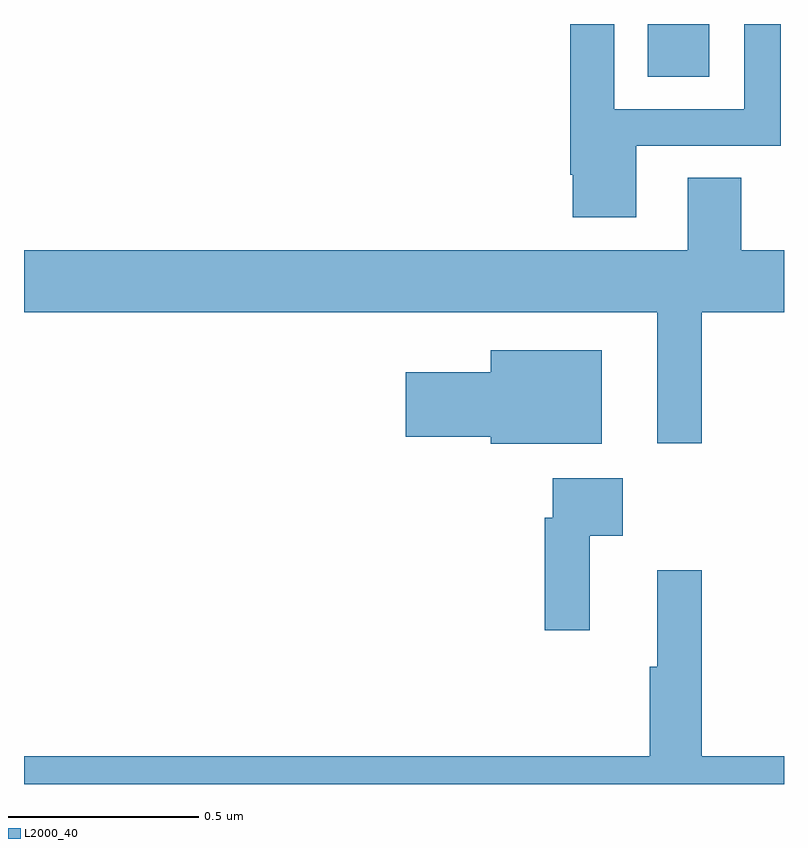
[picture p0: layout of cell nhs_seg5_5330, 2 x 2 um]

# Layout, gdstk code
import gdstk
lib = gdstk.Library(unit=1e-6, precision=1e-09)
def R(c, l, rs):  # rectangles x0, y0, x1, y1
    for r in rs: c.add(gdstk.rectangle(r[:2], r[2:], *l))
def P(c, l, *ps):  # polygons
    for p in ps: c.add(gdstk.Polygon(p, *l))
L2000_40 = (2000, 40)

nhs_seg5_5330 = lib.new_cell('nhs_seg5_5330')
R(nhs_seg5_5330, L2000_40, [(182.642,910.66,182.803,910.799)])
P(nhs_seg5_5330, L2000_40, [(182.611,910.479),(182.991,910.479),(182.991,910.799),(182.895,910.799),(182.895,910.575),(182.553,910.575),(182.553,910.799),(182.437,910.799),(182.437,910.402),(182.444,910.402),(182.444,910.29),(182.611,910.29)],
  [(182.783,910.04),(183,910.04),(183,910.204),(182.887,910.204),(182.887,910.394),(182.747,910.394),(182.747,910.204),(181,910.204),(181,910.04),(182.666,910.04),(182.666,909.696),(182.783,909.696)],
  [(182.521,909.94),(182.228,909.94),(182.228,909.883),(182.004,909.883),(182.004,909.713),(182.228,909.713),(182.228,909.695),(182.521,909.695)],
  [(182.489,909.452),(182.575,909.452),(182.575,909.604),(182.391,909.604),(182.391,909.5),(182.371,909.5),(182.371,909.204),(182.489,909.204)],
  [(183,908.872),(182.783,908.872),(182.783,909.361),(182.666,909.361),(182.666,909.108),(182.647,909.108),(182.647,908.872),(181,908.872),(181,908.799),(183,908.799)])

lib.write_gds('nhs_seg5_5330.gds')
